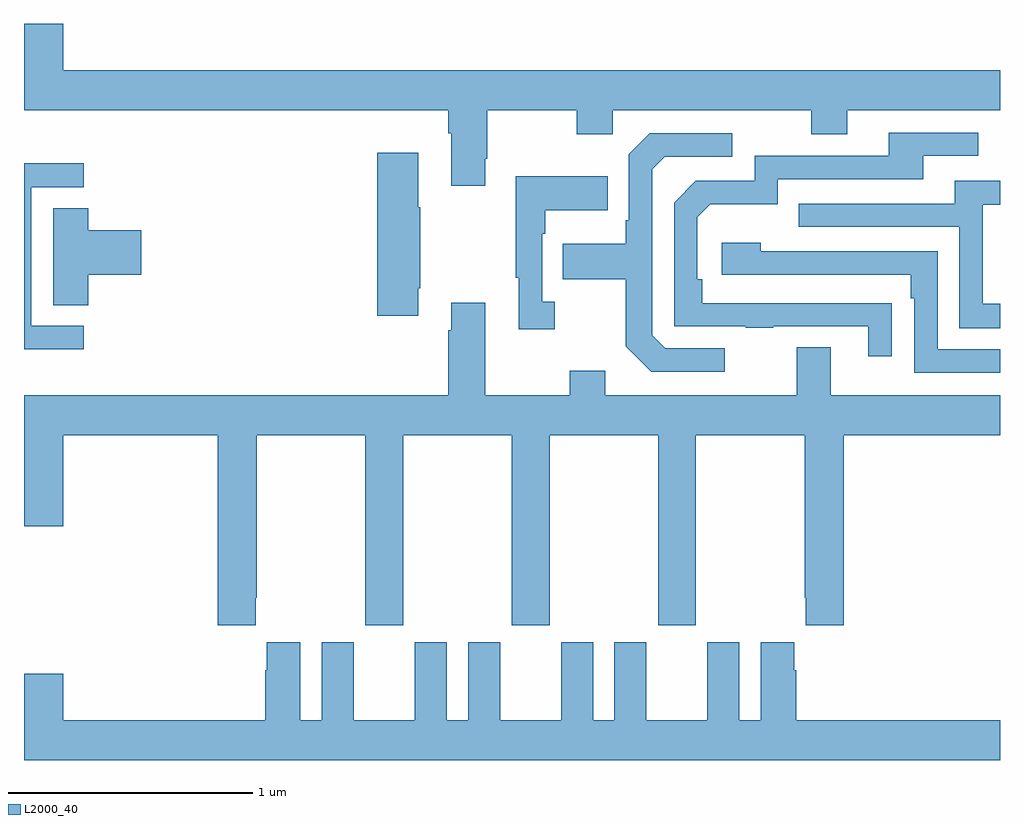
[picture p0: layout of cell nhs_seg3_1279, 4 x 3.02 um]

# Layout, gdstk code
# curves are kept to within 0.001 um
import gdstk
lib = gdstk.Library(unit=1e-6, precision=1e-09)
def P(c, l, *ps):  # polygons
    for p in ps: c.add(gdstk.Polygon(p, *l))
L2000_40 = (2000, 40)

nhs_seg3_1279 = lib.new_cell('nhs_seg3_1279')
P(nhs_seg3_1279, L2000_40, [(178.891,715.369),(178.899,715.369),(178.899,715.568),(179.266,715.568),(179.266,715.469),(179.412,715.469),(179.412,715.568),(180.226,715.568),(180.226,715.469),(180.373,715.469),(180.373,715.568),(181,715.568),(181,715.732),(177.16,715.732),(177.16,715.921),(177,715.921),(177,715.568),(178.739,715.568),(178.739,715.472),(178.751,715.472),(178.751,715.257),(178.891,715.257)],
  [(180.557,714.776),(179.78,714.777),(179.78,714.874),(179.76,714.874),(179.76,715.128),(179.813,715.181),(180.09,715.181),(180.09,715.284),(180.685,715.284),(180.685,715.38),(180.91,715.38),(180.91,715.476),(180.545,715.476),(180.545,715.38),(179.994,715.38),(179.994,715.278),(179.754,715.278),(179.664,715.188),(179.664,714.681),(179.959,714.681),(179.959,714.676),(180.071,714.676),(180.071,714.681),(180.461,714.681),(180.461,714.558),(180.557,714.558)],
  [(179.872,714.591),(179.628,714.591),(179.574,714.645),(179.574,715.326),(179.625,715.377),(179.902,715.377),(179.902,715.473),(179.565,715.473),(179.478,715.386),(179.478,715.117),(179.466,715.117),(179.466,715.021),(179.209,715.021),(179.209,714.874),(179.466,714.874),(179.466,714.601),(179.571,714.495),(179.872,714.495)],
  [(178.615,714.838),(178.623,714.838),(178.623,715.169),(178.615,715.169),(178.615,715.393),(178.448,715.393),(178.448,714.726),(178.615,714.726)],
  [(177.244,714.684),(177.03,714.684),(177.03,715.251),(177.244,715.251),(177.244,715.35),(177,715.35),(177,714.588),(177.244,714.588)],
  [(179.176,714.782),(179.124,714.782),(179.124,715.061),(179.137,715.061),(179.137,715.157),(179.393,715.157),(179.393,715.297),(179.016,715.297),(179.016,714.881),(179.027,714.881),(179.027,714.669),(179.176,714.669)],
  [(181,714.774),(180.93,714.774),(180.93,715.179),(181,715.179),(181,715.279),(180.815,715.279),(180.815,715.185),(180.175,715.185),(180.175,715.089),(180.834,715.089),(180.834,714.673),(181,714.673)],
  [(177.263,714.893),(177.481,714.893),(177.481,715.076),(177.263,715.076),(177.263,715.166),(177.119,715.166),(177.119,714.769),(177.263,714.769)],
  [(181,714.588),(180.744,714.588),(180.744,714.99),(180.02,714.99),(180.02,715.024),(179.859,715.024),(179.859,714.894),(180.635,714.894),(180.635,714.797),(180.648,714.797),(180.648,714.492),(181,714.492)],
  [(177.949,713.569),(177.954,713.569),(177.954,714.236),(178.399,714.236),(178.399,713.457),(178.554,713.457),(178.554,714.236),(178.999,714.236),(178.999,713.457),(179.154,713.457),(179.154,714.236),(179.599,714.236),(179.599,713.457),(179.754,713.457),(179.754,714.236),(180.199,714.236),(180.199,713.569),(180.203,713.569),(180.203,713.457),(180.359,713.457),(180.359,714.236),(181,714.236),(181,714.4),(180.307,714.4),(180.307,714.595),(180.167,714.595),(180.167,714.4),(179.383,714.4),(179.383,714.499),(179.236,714.499),(179.236,714.4),(178.891,714.4),(178.891,714.778),(178.751,714.778),(178.751,714.665),(178.739,714.665),(178.739,714.4),(177,714.4),(177,713.862),(177.16,713.862),(177.16,714.236),(177.794,714.236),(177.794,713.457),(177.949,713.457)],
  [(181,713.068),(180.164,713.068),(180.164,713.273),(180.157,713.273),(180.157,713.386),(180.02,713.386),(180.02,713.068),(179.932,713.068),(179.932,713.386),(179.801,713.386),(179.801,713.068),(179.551,713.068),(179.551,713.386),(179.42,713.386),(179.42,713.068),(179.332,713.068),(179.332,713.386),(179.201,713.386),(179.201,713.068),(178.951,713.068),(178.951,713.386),(178.82,713.386),(178.82,713.068),(178.732,713.068),(178.732,713.386),(178.601,713.386),(178.601,713.068),(178.351,713.068),(178.351,713.386),(178.22,713.386),(178.22,713.068),(178.132,713.068),(178.132,713.386),(177.995,713.386),(177.995,713.273),(177.989,713.273),(177.989,713.068),(177.16,713.068),(177.16,713.257),(177,713.257),(177,712.904),(181,712.904)])

lib.write_gds('nhs_seg3_1279.gds')
